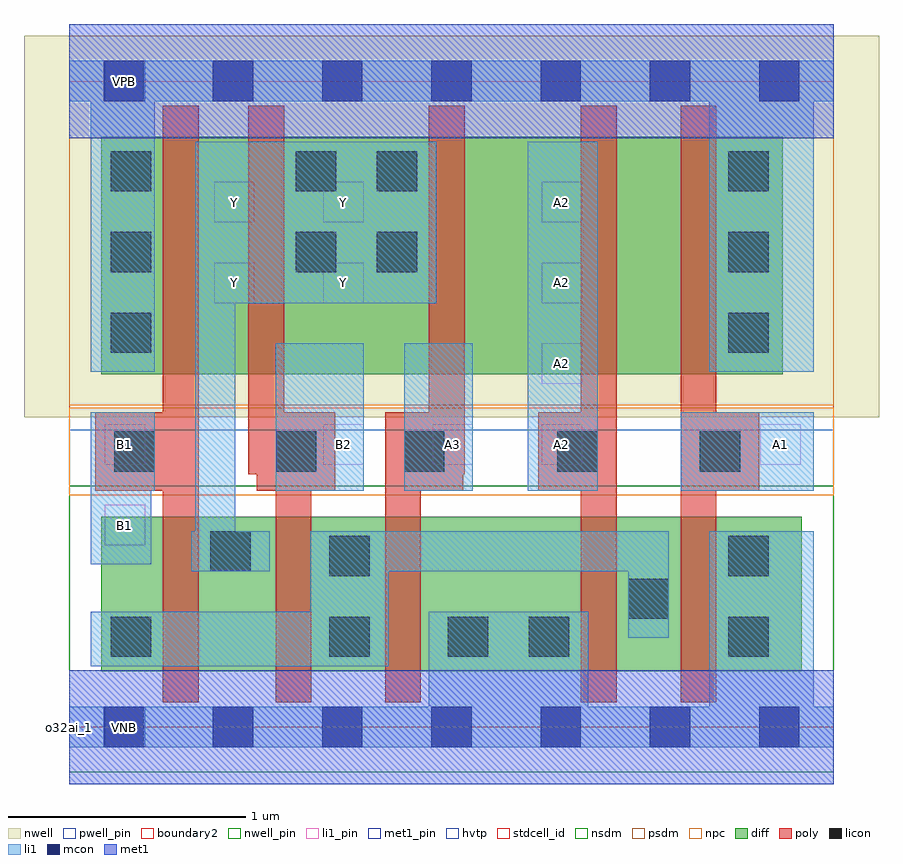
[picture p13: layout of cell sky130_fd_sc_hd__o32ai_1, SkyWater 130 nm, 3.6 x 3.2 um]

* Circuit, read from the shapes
.subckt sky130_fd_sc_hd__o32ai_1 A1 A2 A3 B1 B2 VGND VNB VPB VPWR Y
XM1 Y B1 n1 VNB sky130_fd_pr__nfet_01v8 w=0.65 l=0.15
XM2 n1 B2 Y VNB sky130_fd_pr__nfet_01v8 w=0.65 l=0.15
XM3 VGND A3 n1 VNB sky130_fd_pr__nfet_01v8 w=0.65 l=0.15
XM4 n1 A2 VGND VNB sky130_fd_pr__nfet_01v8 w=0.65 l=0.15
XM5 VGND A1 n1 VNB sky130_fd_pr__nfet_01v8 w=0.65 l=0.15
XM6 n2 B1 VPWR VPB sky130_fd_pr__pfet_01v8_hvt w=1 l=0.15
XM7 Y B2 n2 VPB sky130_fd_pr__pfet_01v8_hvt w=1 l=0.15
XM8 n3 A3 Y VPB sky130_fd_pr__pfet_01v8_hvt w=1 l=0.15
XM9 n4 A2 n3 VPB sky130_fd_pr__pfet_01v8_hvt w=1 l=0.15
XM10 VPWR A1 n4 VPB sky130_fd_pr__pfet_01v8_hvt w=1 l=0.15
.ends

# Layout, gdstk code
import gdstk
lib = gdstk.Library(unit=1e-6, precision=1e-09)
def R(c, l, rs):  # rectangles x0, y0, x1, y1
    for r in rs: c.add(gdstk.rectangle(r[:2], r[2:], *l))
def A(c, l, x, y, w, h, nx, ny, dx, dy):  # array of equal rectangles
    R(c, l, [(x+i*dx, y+j*dy, x+i*dx+w, y+j*dy+h) for i in range(nx) for j in range(ny)])
def P(c, l, *ps):  # polygons
    for p in ps: c.add(gdstk.Polygon(p, *l))
nwell_pin = (64, 16)
nwell = (64, 20)
diff = (65, 20)
poly = (66, 20)
licon = (66, 44)
li1_pin = (67, 16)
li1 = (67, 20)
mcon = (67, 44)
met1_pin = (68, 16)
met1 = (68, 20)
hvtp = (78, 44)
stdcell_id = (81, 4)
nsdm = (93, 44)
psdm = (94, 20)
npc = (95, 20)
pwell_pin = (122, 16)
boundary2 = (236, 0)

sky130_fd_sc_hd__o32ai_1 = lib.new_cell('sky130_fd_sc_hd__o32ai_1')
R(sky130_fd_sc_hd__o32ai_1, nwell_pin, [(0.15,2.635,0.32,2.805)])
R(sky130_fd_sc_hd__o32ai_1, nwell, [(-0.19,1.305,3.41,2.91)])
R(sky130_fd_sc_hd__o32ai_1, diff, [(0.135,0.235,3.085,0.885), (0.135,1.485,3.005,2.485)])
P(sky130_fd_sc_hd__o32ai_1, poly, [(1.33,0.105),(1.33,1.325),(1.515,1.325),(1.515,2.615),(1.665,2.615),(1.665,1.065),(1.66,1.065),(1.66,0.995),(1.48,0.995),(1.48,0.105)],
  [(0.395,0.105),(0.395,0.995),(0.11,0.995),(0.11,1.325),(0.395,1.325),(0.395,2.615),(0.545,2.615),(0.545,0.105)],
  [(2.155,0.105),(2.155,0.995),(1.975,0.995),(1.975,1.325),(2.155,1.325),(2.155,2.615),(2.305,2.615),(2.305,0.105)],
  [(0.87,0.105),(0.87,0.995),(0.79,0.995),(0.79,1.065),(0.755,1.065),(0.755,2.615),(0.905,2.615),(0.905,1.325),(1.12,1.325),(1.12,0.995),(1.02,0.995),(1.02,0.105)],
  [(2.575,0.105),(2.575,2.615),(2.725,2.615),(2.725,1.325),(2.905,1.325),(2.905,0.995),(2.725,0.995),(2.725,0.105)])
A(sky130_fd_sc_hd__o32ai_1, licon, 0.175, 1.575, 0.17, 0.17, 1, 3, 0, 0.34)
A(sky130_fd_sc_hd__o32ai_1, licon, 2.775, 1.575, 0.17, 0.17, 1, 3, 0, 0.34)
R(sky130_fd_sc_hd__o32ai_1, licon, [(0.175,0.295,0.345,0.465), (1.095,0.295,1.265,0.465), (1.595,0.295,1.765,0.465), (1.935,0.295,2.105,0.465), (2.775,0.295,2.945,0.465), (2.355,0.455,2.525,0.625), (1.095,0.635,1.265,0.805), (2.775,0.635,2.945,0.805), (0.595,0.655,0.765,0.825), (0.19,1.075,0.36,1.245), (0.87,1.075,1.04,1.245), (1.41,1.075,1.58,1.245), (2.055,1.075,2.225,1.245), (2.655,1.075,2.825,1.245), (0.955,1.915,1.125,2.085), (1.295,1.915,1.465,2.085), (0.955,2.255,1.125,2.425), (1.295,2.255,1.465,2.425)])
A(sky130_fd_sc_hd__o32ai_1, li1_pin, 1.07, 1.105, 0.17, 0.17, 3, 1, 0.46, 0)
A(sky130_fd_sc_hd__o32ai_1, li1_pin, 1.99, 1.445, 0.17, 0.17, 1, 3, 0, 0.34)
R(sky130_fd_sc_hd__o32ai_1, li1_pin, [(0.15,0.765,0.32,0.935), (0.15,1.105,0.32,1.275), (2.91,1.105,3.08,1.275), (0.61,1.785,0.78,1.955), (1.07,1.785,1.24,1.955), (0.61,2.125,0.78,2.295), (1.07,2.125,1.24,2.295)])
R(sky130_fd_sc_hd__o32ai_1, li1, [(0.87,0.995,1.24,1.615), (1.41,0.995,1.7,1.615), (1.93,0.995,2.225,2.465), (2.575,0.995,3.135,1.325)])
P(sky130_fd_sc_hd__o32ai_1, li1, [(0,-0.085),(0,0.085),(1.515,0.085),(1.515,0.485),(2.185,0.485),(2.185,0.085),(2.695,0.085),(2.695,0.825),(3.135,0.825),(3.135,0.085),(3.22,0.085),(3.22,-0.085)],
  [(0.09,1.495),(0.09,2.635),(0,2.635),(0,2.805),(3.22,2.805),(3.22,2.635),(3.135,2.635),(3.135,1.495),(2.695,1.495),(2.695,2.635),(0.36,2.635),(0.36,1.495)],
  [(0.09,0.255),(0.09,0.485),(1.015,0.485),(1.015,0.825),(2.525,0.825),(2.525,0.375),(2.355,0.375),(2.355,0.655),(1.345,0.655),(1.345,0.255)],
  [(0.515,0.655),(0.515,0.825),(0.53,0.825),(0.53,2.465),(1.545,2.465),(1.545,1.785),(0.7,1.785),(0.7,0.825),(0.845,0.825),(0.845,0.655)],
  [(0.09,0.685),(0.09,1.325),(0.36,1.325),(0.36,0.995),(0.345,0.995),(0.345,0.685)])
A(sky130_fd_sc_hd__o32ai_1, mcon, 0.145, -0.085, 0.17, 0.17, 7, 2, 0.46, 2.72)
R(sky130_fd_sc_hd__o32ai_1, met1_pin, [(0.15,-0.085,0.32,0.085), (0.15,2.635,0.32,2.805)])
R(sky130_fd_sc_hd__o32ai_1, hvtp, [(0,1.25,3.22,2.72)])
R(sky130_fd_sc_hd__o32ai_1, stdcell_id, [(0,0,3.22,2.72)])
R(sky130_fd_sc_hd__o32ai_1, nsdm, [(0,-0.19,3.22,1.015)])
R(sky130_fd_sc_hd__o32ai_1, psdm, [(0,1.355,3.22,2.91)])
R(sky130_fd_sc_hd__o32ai_1, npc, [(0,0.975,3.22,1.345)])
R(sky130_fd_sc_hd__o32ai_1, pwell_pin, [(0.15,-0.085,0.32,0.085)])
R(sky130_fd_sc_hd__o32ai_1, boundary2, [(0,0,3.22,2.72)])
sky130_fd_sc_hd__o32ai_1.add(gdstk.FlexPath([(0,2.72),(3.22,2.72)], 0.48, ends="flush", simple_path=True, layer=68, datatype=20))  # met1
sky130_fd_sc_hd__o32ai_1.add(gdstk.FlexPath([(0,0),(3.22,0)], 0.48, ends="flush", simple_path=True, layer=68, datatype=20))  # met1
sky130_fd_sc_hd__o32ai_1.add(gdstk.Label('A2', (2.075,2.21), layer=67, texttype=5))
sky130_fd_sc_hd__o32ai_1.add(gdstk.Label('A2', (2.075,1.87), layer=67, texttype=5))
sky130_fd_sc_hd__o32ai_1.add(gdstk.Label('A2', (2.075,1.53), layer=67, texttype=5))
sky130_fd_sc_hd__o32ai_1.add(gdstk.Label('Y', (1.155,1.87), layer=67, texttype=5))
sky130_fd_sc_hd__o32ai_1.add(gdstk.Label('Y', (1.155,2.21), layer=67, texttype=5))
sky130_fd_sc_hd__o32ai_1.add(gdstk.Label('Y', (0.695,1.87), layer=67, texttype=5))
sky130_fd_sc_hd__o32ai_1.add(gdstk.Label('Y', (0.695,2.21), layer=67, texttype=5))
sky130_fd_sc_hd__o32ai_1.add(gdstk.Label('A1', (2.995,1.19), layer=67, texttype=5))
sky130_fd_sc_hd__o32ai_1.add(gdstk.Label('A2', (2.075,1.19), layer=67, texttype=5))
sky130_fd_sc_hd__o32ai_1.add(gdstk.Label('A3', (1.615,1.19), layer=67, texttype=5))
sky130_fd_sc_hd__o32ai_1.add(gdstk.Label('B2', (1.155,1.19), layer=67, texttype=5))
sky130_fd_sc_hd__o32ai_1.add(gdstk.Label('B1', (0.235,1.19), layer=67, texttype=5))
sky130_fd_sc_hd__o32ai_1.add(gdstk.Label('B1', (0.235,0.85), layer=67, texttype=5))
sky130_fd_sc_hd__o32ai_1.add(gdstk.Label('VNB', (0.235,0), layer=64, texttype=59))
sky130_fd_sc_hd__o32ai_1.add(gdstk.Label('VPB', (0.235,2.72), layer=64, texttype=5))
sky130_fd_sc_hd__o32ai_1.add(gdstk.Label('VGND', (0.235,0), layer=68, texttype=5))
sky130_fd_sc_hd__o32ai_1.add(gdstk.Label('VPWR', (0.235,2.72), layer=68, texttype=5))
sky130_fd_sc_hd__o32ai_1.add(gdstk.Label('o32ai_1', (0,0), layer=83, texttype=44))

lib.write_gds('sky130_fd_sc_hd__o32ai_1.gds')
